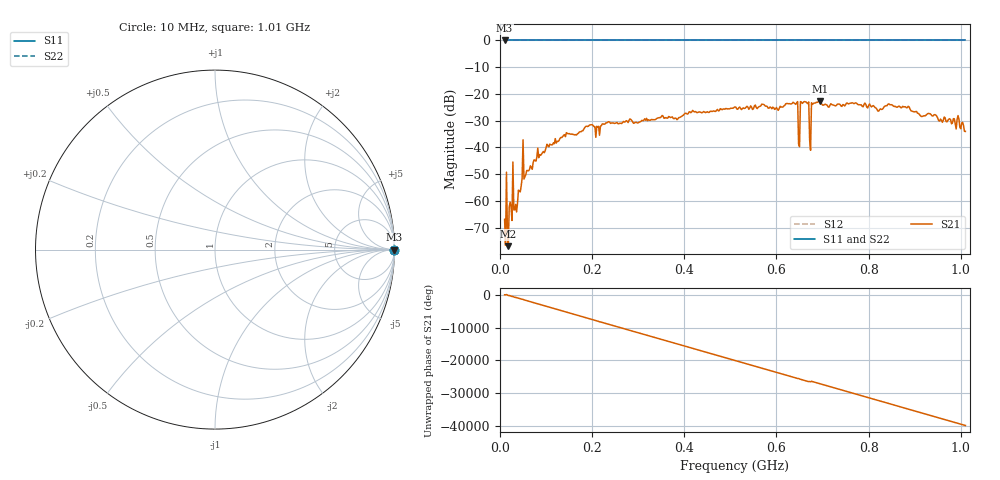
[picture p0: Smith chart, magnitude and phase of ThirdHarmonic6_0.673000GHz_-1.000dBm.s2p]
! 8/15/2025 10:25:22 PM
! C:\ANRITSUVNA\TEMP\TEMP.S2P
! CHANNEL.1
! TR.MEASUREMENT
! RAW.DATA
! RF.CORRECTION.OFF
! AVERAGING.OFF
! IF.BANDWIDTH: 5KHZ
! SWEEPTYPE:  FREQ.SWEEP(Linear)
! Reference Plane Port Info
! PORT:  PORT1  PORT2
! DISTANCE:  0  m  0  m
! TIME:  0  s  0  s
! PHASE.OFFSET:  0  deg.  0  deg.
! LOSS:  0  dB  0  dB
! REF.LOSS:  0  dB  0  dB
! REF.FREQ:  0  Hz  0  Hz
! Power Info
! POWER:  -20  dBm  -20  dBm
! EFF.POWER:  -20  dBm  -20  dBm
! SOURCE.ATTEN:  0  dB  0  dB
! TEST.ATTEN:  0  dB  0  dB
# GHZ S RI R 50.0
! FREQ.GHZ  S11RE  S11IM  S21RE  S21IM  S12RE  S12IM  S22RE  S22IM
!; PortSelection: Port_12
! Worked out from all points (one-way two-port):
!   501 points, 10 MHz to 1.01 GHz, reference 50 ohm
!   highest |S21| = -22.62 dB at 694 MHz (marker M1); lowest = -76.9 dB at 18 MHz (marker M2)
!   lowest |S11| = 0.0 dB at 10 MHz (marker M3)
!   |S11| at or under -10 dB: nowhere
!   |S22| runs from 0.0 to 0.0 dB; largest |S21 - S12| = 1.1
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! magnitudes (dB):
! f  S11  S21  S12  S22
! 10 MHz  0.0  -66.9  0.0  0.0
! 14 MHz  0.0  -49.2  0.0  0.0
! 18 MHz  0.0  -76.9  0.0  0.0
! 22 MHz  0.0  -60.4  0.0  0.0
! 24 MHz  0.0  -62.1  0.0  0.0
! 34 MHz  0.0  -61.3  0.0  0.0
! 54 MHz  0.0  -51.0  0.0  0.0
! 56 MHz  0.0  -50.2  0.0  0.0
! 104 MHz  0.0  -39.4  0.0  0.0
! 178 MHz  0.0  -33.8  0.0  0.0
! 344 MHz  0.0  -28.9  0.0  0.0
! 510 MHz  0.0  -24.8  0.0  0.0
! 642 MHz  0.0  -23.9  0.0  0.0
! 646 MHz  0.0  -22.9  0.0  0.0
! 662 MHz  0.0  -22.9  0.0  0.0
! 666 MHz  0.0  -23.3  0.0  0.0
! 670 MHz  0.0  -23.0  0.0  0.0
! 678 MHz  0.0  -23.9  0.0  0.0
! 680 MHz  0.0  -23.5  0.0  0.0
! 694 MHz  0.0  -22.6  0.0  0.0
! 844 MHz  0.0  -23.7  0.0  0.0
! 1.01 GHz  0.0  -34.0  0.0  0.0
